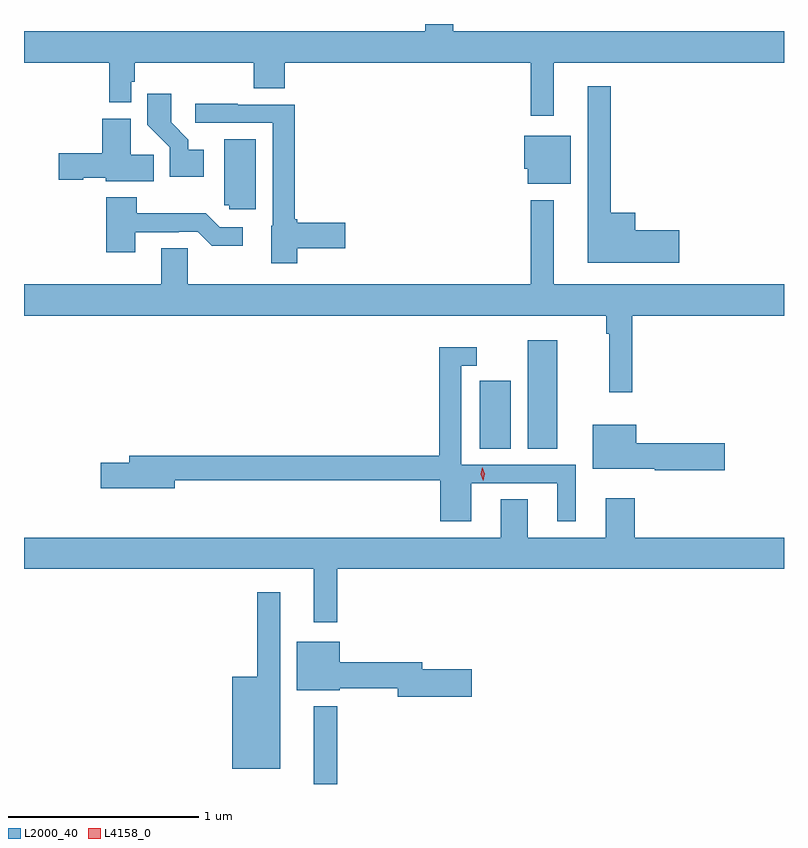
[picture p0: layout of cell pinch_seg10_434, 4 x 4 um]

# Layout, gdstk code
import gdstk
lib = gdstk.Library(unit=1e-6, precision=1e-09)
def R(c, l, rs):  # rectangles x0, y0, x1, y1
    for r in rs: c.add(gdstk.rectangle(r[:2], r[2:], *l))
def P(c, l, *ps):  # polygons
    for p in ps: c.add(gdstk.Polygon(p, *l))
L2000_40 = (2000, 40)
L4158_0 = (4158, 0)

pinch_seg10_434 = lib.new_cell('pinch_seg10_434')
R(pinch_seg10_434, L2000_40, [(339.173,1292.523,339.295,1292.932), (340.046,1294.288,340.21,1294.645), (340.298,1294.288,340.453,1294.858)])
P(pinch_seg10_434, L2000_40, [(340.435,1296.32),(341.647,1296.32),(341.647,1296.484),(339.907,1296.484),(339.907,1296.523),(339.76,1296.523),(339.76,1296.484),(337.647,1296.484),(337.647,1296.32),(338.095,1296.32),(338.095,1296.11),(338.211,1296.11),(338.211,1296.219),(338.231,1296.219),(338.231,1296.32),(338.855,1296.32),(338.855,1296.184),(339.02,1296.184),(339.02,1296.32),(340.314,1296.32),(340.314,1296.039),(340.435,1296.039)],
  [(341.095,1295.438),(340.864,1295.438),(340.864,1295.53),(340.735,1295.53),(340.735,1296.196),(340.613,1296.196),(340.613,1295.267),(341.095,1295.267)],
  [(338.593,1295.86),(338.512,1295.86),(338.512,1295.915),(338.422,1296.005),(338.422,1296.157),(338.296,1296.157),(338.296,1295.994),(338.415,1295.875),(338.415,1295.72),(338.593,1295.72)],
  [(339.084,1295.342),(339.337,1295.342),(339.337,1295.477),(339.084,1295.477),(339.084,1295.495),(339.071,1295.495),(339.071,1296.099),(338.771,1296.099),(338.771,1296.102),(338.547,1296.102),(338.547,1296.003),(338.955,1296.003),(338.955,1295.46),(338.948,1295.46),(338.948,1295.264),(339.084,1295.264)],
  [(338.33,1295.834),(338.209,1295.834),(338.209,1296.025),(338.06,1296.025),(338.06,1295.844),(337.83,1295.844),(337.83,1295.702),(337.959,1295.702),(337.959,1295.714),(338.076,1295.714),(338.076,1295.696),(338.33,1295.696)],
  [(340.525,1295.935),(340.28,1295.935),(340.28,1295.76),(340.298,1295.76),(340.298,1295.681),(340.525,1295.681)],
  [(338.866,1295.917),(338.702,1295.917),(338.702,1295.568),(338.727,1295.568),(338.727,1295.547),(338.866,1295.547)],
  [(338.233,1295.427),(338.462,1295.427),(338.462,1295.43),(338.562,1295.43),(338.635,1295.357),(338.797,1295.357),(338.797,1295.454),(338.676,1295.454),(338.603,1295.527),(338.241,1295.527),(338.241,1295.611),(338.081,1295.611),(338.081,1295.322),(338.233,1295.322)],
  [(340.847,1294.988),(341.647,1294.988),(341.647,1295.152),(340.435,1295.152),(340.435,1295.596),(340.314,1295.596),(340.314,1295.152),(338.508,1295.152),(338.508,1295.342),(338.369,1295.342),(338.369,1295.152),(337.647,1295.152),(337.647,1294.988),(340.711,1294.988),(340.711,1294.892),(340.726,1294.892),(340.726,1294.584),(340.847,1294.584)],
  [(340,1294.107),(340.454,1294.107),(340.454,1293.906),(340.552,1293.906),(340.552,1294.203),(339.948,1294.203),(339.948,1294.725),(340.03,1294.725),(340.03,1294.822),(339.832,1294.822),(339.832,1294.25),(338.201,1294.25),(338.201,1294.214),(338.052,1294.214),(338.052,1294.079),(338.44,1294.079),(338.44,1294.122),(339.839,1294.122),(339.839,1293.906),(340,1293.906)],
  [(341.335,1294.316),(340.87,1294.316),(340.87,1294.414),(340.64,1294.414),(340.64,1294.181),(340.966,1294.181),(340.966,1294.174),(341.335,1294.174)],
  [(339.295,1293.656),(341.647,1293.656),(341.647,1293.82),(340.862,1293.82),(340.862,1294.027),(340.709,1294.027),(340.709,1293.82),(340.297,1293.82),(340.297,1294.022),(340.157,1294.022),(340.157,1293.82),(337.647,1293.82),(337.647,1293.656),(339.173,1293.656),(339.173,1293.375),(339.295,1293.375)],
  [(338.995,1293.532),(338.874,1293.532),(338.874,1293.088),(338.744,1293.088),(338.744,1292.603),(338.995,1292.603)],
  [(340.003,1293.128),(339.742,1293.128),(339.742,1293.164),(339.31,1293.164),(339.31,1293.271),(339.083,1293.271),(339.083,1293.017),(339.31,1293.017),(339.31,1293.028),(339.614,1293.028),(339.614,1292.981),(340.003,1292.981)])
P(pinch_seg10_434, L4158_0, [(340.063,1294.118),(340.063,1294.119),(340.052,1294.154),(340.06,1294.191),(340.06,1294.191),(340.06,1294.191),(340.072,1294.155),(340.063,1294.119)])

lib.write_gds('pinch_seg10_434.gds')
